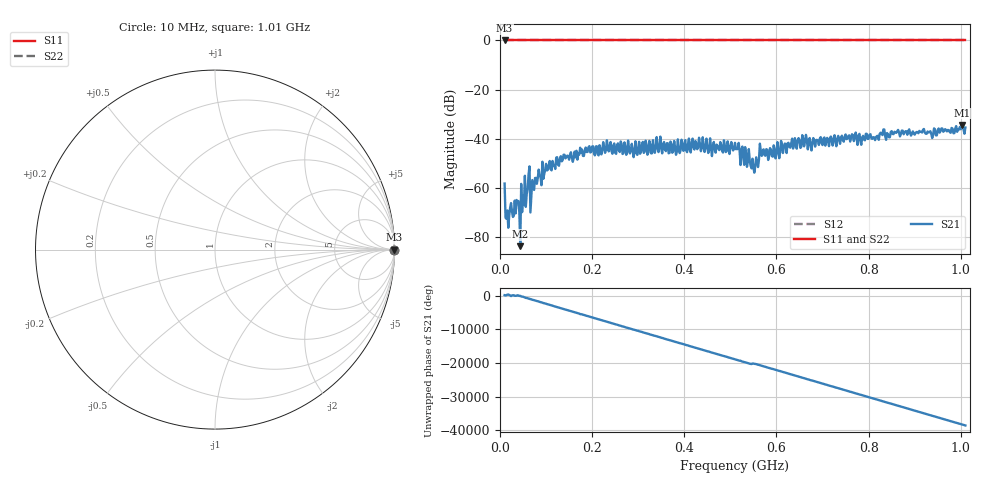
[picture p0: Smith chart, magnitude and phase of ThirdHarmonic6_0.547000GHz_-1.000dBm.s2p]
! 8/15/2025 5:16:45 PM
! C:\ANRITSUVNA\TEMP\TEMP.S2P
! CHANNEL.1
! TR.MEASUREMENT
! RAW.DATA
! RF.CORRECTION.OFF
! AVERAGING.OFF
! IF.BANDWIDTH: 5KHZ
! SWEEPTYPE:  FREQ.SWEEP(Linear)
! Reference Plane Port Info
! PORT:  PORT1  PORT2
! DISTANCE:  0  m  0  m
! TIME:  0  s  0  s
! PHASE.OFFSET:  0  deg.  0  deg.
! LOSS:  0  dB  0  dB
! REF.LOSS:  0  dB  0  dB
! REF.FREQ:  0  Hz  0  Hz
! Power Info
! POWER:  -20  dBm  -20  dBm
! EFF.POWER:  -20  dBm  -20  dBm
! SOURCE.ATTEN:  0  dB  0  dB
! TEST.ATTEN:  0  dB  0  dB
# GHZ S RI R 50.0
! FREQ.GHZ  S11RE  S11IM  S21RE  S21IM  S12RE  S12IM  S22RE  S22IM
!; PortSelection: Port_12
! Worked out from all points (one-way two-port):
!   501 points, 10 MHz to 1.01 GHz, reference 50 ohm
!   highest |S21| = -34.27 dB at 1.002 GHz (marker M1); lowest = -83.5 dB at 44 MHz (marker M2)
!   lowest |S11| = 0.0 dB at 10 MHz (marker M3)
!   |S11| at or under -10 dB: nowhere
!   |S22| runs from 0.0 to 0.0 dB; largest |S21 - S12| = 1
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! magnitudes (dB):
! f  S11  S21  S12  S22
! 10 MHz  0.0  -58.1  0.0  0.0
! 16 MHz  0.0  -69.1  0.0  0.0
! 36 MHz  0.0  -64.8  0.0  0.0
! 44 MHz  0.0  -83.5  0.0  0.0
! 48 MHz  0.0  -69.7  0.0  0.0
! 50 MHz  0.0  -63.1  0.0  0.0
! 52 MHz  0.0  -66.6  0.0  0.0
! 60 MHz  0.0  -60.1  0.0  0.0
! 70 MHz  0.0  -56.7  0.0  0.0
! 74 MHz  0.0  -60.7  0.0  0.0
! 104 MHz  0.0  -52.5  0.0  0.0
! 178 MHz  0.0  -44.3  0.0  0.0
! 344 MHz  0.0  -45.3  0.0  0.0
! 510 MHz  0.0  -41.6  0.0  0.0
! 550 MHz  0.0  -51.8  0.0  0.0
! 568 MHz  0.0  -46.9  0.0  0.0
! 602 MHz  0.0  -41.3  0.0  0.0
! 660 MHz  0.0  -43.0  0.0  0.0
! 678 MHz  0.0  -41.5  0.0  0.0
! 844 MHz  0.0  -39.3  0.0  0.0
! 1.002 GHz  0.0  -34.3  0.0  0.0
! 1.01 GHz  0.0  -35.4  0.0  0.0
